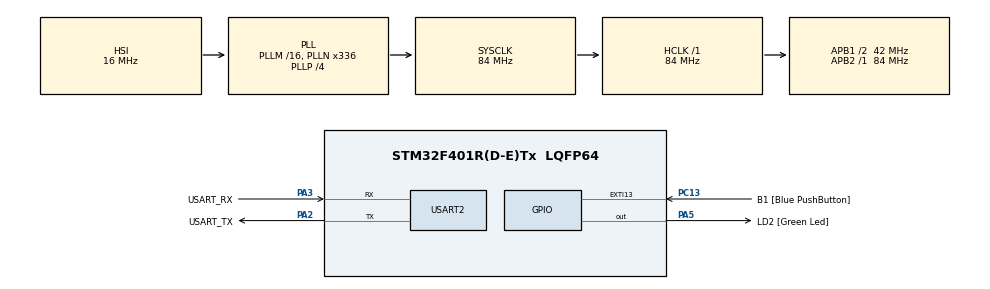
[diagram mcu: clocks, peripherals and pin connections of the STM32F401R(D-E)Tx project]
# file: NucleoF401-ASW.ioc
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Mcu.Family=STM32F4
Mcu.Name=STM32F401R(D-E)Tx
Mcu.Package=LQFP64
NVIC.PriorityGroup=NVIC_PRIORITYGROUP_4
PA13.GPIO_Label=TMS
PA13.Mode=Trace_Asynchronous_SW
PA13.Signal=SYS_JTMS-SWDIO
PA14.GPIO_Label=TCK
PA14.Mode=Trace_Asynchronous_SW
PA14.Signal=SYS_JTCK-SWCLK
PA2.GPIO_Label=USART_TX
PA2.GPIO_Mode=GPIO_MODE_AF_PP
PA2.GPIO_PuPd=GPIO_NOPULL
PA2.GPIO_Speed=GPIO_SPEED_FREQ_LOW
PA2.Mode=Asynchronous
PA2.Signal=USART2_TX
PA3.GPIO_Label=USART_RX
PA3.GPIO_Mode=GPIO_MODE_AF_PP
PA3.GPIO_PuPd=GPIO_NOPULL
PA3.GPIO_Speed=GPIO_SPEED_FREQ_LOW
PA3.Mode=Asynchronous
PA3.Signal=USART2_RX
PA5.GPIO_Label=LD2 [Green Led]
PA5.GPIO_Mode=GPIO_MODE_OUTPUT_PP
PA5.GPIO_PuPd=GPIO_NOPULL
PA5.GPIO_Speed=GPIO_SPEED_FREQ_LOW
PA5.Signal=GPIO_Output
PB3.GPIO_Label=SWO
PB3.Mode=Trace_Asynchronous_SW
PB3.Signal=SYS_JTDO-SWO
PC13-ANTI_TAMP.GPIO_Label=B1 [Blue PushButton]
PC13-ANTI_TAMP.GPIO_ModeDefaultEXTI=GPIO_MODE_IT_FALLING
PC13-ANTI_TAMP.GPIO_PuPd=GPIO_NOPULL
PC13-ANTI_TAMP.Signal=GPXTI13
PC14-OSC32_IN.Mode=LSE-External-Oscillator
PC14-OSC32_IN.Signal=RCC_OSC32_IN
PC15-OSC32_OUT.Mode=LSE-External-Oscillator
PC15-OSC32_OUT.Signal=RCC_OSC32_OUT
PH0\ -\ OSC_IN.Mode=HSE-External-Clock-Source
PH0\ -\ OSC_IN.Signal=RCC_OSC_IN
PH1\ -\ OSC_OUT.Mode=HSE-External-Clock-Source
PH1\ -\ OSC_OUT.Signal=RCC_OSC_OUT
ProjectManager.HeapSize=0x200
ProjectManager.StackSize=0x400
ProjectManager.TargetToolchain=STM32CubeIDE
RCC.48MHZClocksFreq_Value=48000000
RCC.AHBFreq_Value=84000000
RCC.APB1CLKDivider=RCC_HCLK_DIV2
RCC.APB1Freq_Value=42000000
RCC.APB1TimFreq_Value=84000000
RCC.APB2Freq_Value=84000000
RCC.APB2TimFreq_Value=84000000
RCC.CortexFreq_Value=84000000
RCC.HCLKFreq_Value=84000000
RCC.HSE_VALUE=8000000
RCC.HSI_VALUE=16000000
RCC.PLLN=336
RCC.PLLP=RCC_PLLP_DIV4
RCC.PLLQ=7
RCC.SYSCLKFreq_VALUE=84000000
RCC.SYSCLKSource=RCC_SYSCLKSOURCE_PLLCLK
RCC.VCOOutputFreq_Value=336000000
USART2.VirtualMode=VM_ASYNC
board=NUCLEO-F401RE

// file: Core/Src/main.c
/* USER CODE BEGIN Header */
/**
  ******************************************************************************
  * @file           : main.c
  * @brief          : Main program body
  ******************************************************************************
  * @attention
  *
  * Copyright (c) 2026 STMicroelectronics.
  * All rights reserved.
  *
  * This software is licensed under terms that can be found in the LICENSE file
  * in the root directory of this software component.
  * If no LICENSE file comes with this software, it is provided AS-IS.
  *
  ******************************************************************************
  */
/* USER CODE END Header */
#include "main.h"

/* USER CODE BEGIN Includes */

#include <stdio.h>

/* USER CODE END Includes */

UART_HandleTypeDef huart2;

void SystemClock_Config(void);
static void MX_GPIO_Init(void);
static void MX_USART2_UART_Init(void);

/* USER CODE BEGIN 0 */

int _write(int fd, char *ptr, int len) {
    HAL_StatusTypeDef hstatus;

    if (fd == 1 || fd == 2) {
        hstatus = HAL_UART_Transmit(&huart2, (uint8_t*) ptr, len, HAL_MAX_DELAY);
        if (hstatus == HAL_OK)
            return len;
        else
            return -1;
    }
    return -1;
}

/* USER CODE END 0 */

int main(void)
{

  /* USER CODE BEGIN 1 */

  __enable_irq();

  /* USER CODE END 1 */

  /* MCU Configuration--------------------------------------------------------*/

  /* Reset of all peripherals, Initializes the Flash interface and the Systick. */
  HAL_Init();

  /* Configure the system clock */
  SystemClock_Config();

  /* Initialize all configured peripherals */
  MX_GPIO_Init();
  MX_USART2_UART_Init();
  /* USER CODE BEGIN 2 */

  // Wait for USB enumeration to complete after reinitialization
  HAL_Delay(2000);

  /* USER CODE END 2 */

  /* Infinite loop */
  /* USER CODE BEGIN WHILE */
  while (1)
  {
	printf("App STARTED\n");

    //CDC_Transmit_FS(buffer, sizeof(buffer));
    HAL_GPIO_TogglePin(LD2_GPIO_Port, LD2_Pin);
    HAL_Delay(1000);
    /* USER CODE END WHILE */

  }
}

void SystemClock_Config(void)
{
  RCC_OscInitTypeDef RCC_OscInitStruct = {0};
  RCC_ClkInitTypeDef RCC_ClkInitStruct = {0};

  /** Configure the main internal regulator output voltage
  */
  __HAL_RCC_PWR_CLK_ENABLE();
  __HAL_PWR_VOLTAGESCALING_CONFIG(PWR_REGULATOR_VOLTAGE_SCALE2);

  /** Initializes the RCC Oscillators according to the specified parameters
  * in the RCC_OscInitTypeDef structure.
  */
  RCC_OscInitStruct.OscillatorType = RCC_OSCILLATORTYPE_HSI;
  RCC_OscInitStruct.HSIState = RCC_HSI_ON;
  RCC_OscInitStruct.HSICalibrationValue = RCC_HSICALIBRATION_DEFAULT;
  RCC_OscInitStruct.PLL.PLLState = RCC_PLL_ON;
  RCC_OscInitStruct.PLL.PLLSource = RCC_PLLSOURCE_HSI;
  RCC_OscInitStruct.PLL.PLLM = 16;
  RCC_OscInitStruct.PLL.PLLN = 336;
  RCC_OscInitStruct.PLL.PLLP = RCC_PLLP_DIV4;
  RCC_OscInitStruct.PLL.PLLQ = 7;
  if (HAL_RCC_OscConfig(&RCC_OscInitStruct) != HAL_OK)
  {
    Error_Handler();
  }

  /** Initializes the CPU, AHB and APB buses clocks
  */
  RCC_ClkInitStruct.ClockType = RCC_CLOCKTYPE_HCLK|RCC_CLOCKTYPE_SYSCLK
                              |RCC_CLOCKTYPE_PCLK1|RCC_CLOCKTYPE_PCLK2;
  RCC_ClkInitStruct.SYSCLKSource = RCC_SYSCLKSOURCE_PLLCLK;
  RCC_ClkInitStruct.AHBCLKDivider = RCC_SYSCLK_DIV1;
  RCC_ClkInitStruct.APB1CLKDivider = RCC_HCLK_DIV2;
  RCC_ClkInitStruct.APB2CLKDivider = RCC_HCLK_DIV1;

  if (HAL_RCC_ClockConfig(&RCC_ClkInitStruct, FLASH_LATENCY_2) != HAL_OK)
  {
    Error_Handler();
  }
}

static void MX_USART2_UART_Init(void)
{

  huart2.Instance = USART2;
  huart2.Init.BaudRate = 115200;
  huart2.Init.WordLength = UART_WORDLENGTH_8B;
  huart2.Init.StopBits = UART_STOPBITS_1;
  huart2.Init.Parity = UART_PARITY_NONE;
  huart2.Init.Mode = UART_MODE_TX_RX;
  huart2.Init.HwFlowCtl = UART_HWCONTROL_NONE;
  huart2.Init.OverSampling = UART_OVERSAMPLING_16;
  if (HAL_UART_Init(&huart2) != HAL_OK)
  {
    Error_Handler();
  }

}

static void MX_GPIO_Init(void)
{
  GPIO_InitTypeDef GPIO_InitStruct = {0};

  /* GPIO Ports Clock Enable */
  __HAL_RCC_GPIOC_CLK_ENABLE();
  __HAL_RCC_GPIOH_CLK_ENABLE();
  __HAL_RCC_GPIOA_CLK_ENABLE();
  __HAL_RCC_GPIOB_CLK_ENABLE();

  /*Configure GPIO pin Output Level */
  HAL_GPIO_WritePin(LD2_GPIO_Port, LD2_Pin, GPIO_PIN_RESET);

  /*Configure GPIO pin : B1_Pin */
  GPIO_InitStruct.Pin = B1_Pin;
  GPIO_InitStruct.Mode = GPIO_MODE_IT_FALLING;
  GPIO_InitStruct.Pull = GPIO_NOPULL;
  HAL_GPIO_Init(B1_GPIO_Port, &GPIO_InitStruct);

  /*Configure GPIO pin : LD2_Pin */
  GPIO_InitStruct.Pin = LD2_Pin;
  GPIO_InitStruct.Mode = GPIO_MODE_OUTPUT_PP;
  GPIO_InitStruct.Pull = GPIO_NOPULL;
  GPIO_InitStruct.Speed = GPIO_SPEED_FREQ_LOW;
  HAL_GPIO_Init(LD2_GPIO_Port, &GPIO_InitStruct);

}

void Error_Handler(void)
{
  __disable_irq();
  while (1)
  {
  }
}
